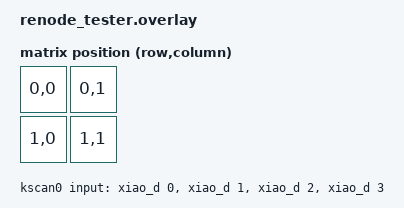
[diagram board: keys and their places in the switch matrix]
/*
 * Minimal Studio-ready XIAO shield used only for the Renode smoke test
 * (see the repo README's `west zmk-renode-test` section). Unlike
 * my_awesome_keyboard, this shield does NOT set a chosen zmk,matrix-transform:
 * CONFIG_ZMK_STUDIO build-asserts on a zmk,physical-layout (with
 * key_physical_attrs) AND the absence of a chosen matrix-transform, so the
 * transform is referenced from the physical layout instead.
 */
#include <dt-bindings/zmk/matrix_transform.h>
#include <physical_layouts.dtsi>

/ {
	chosen {
		zmk,kscan = &kscan0;
	};

	kscan0: kscan {
		compatible = "zmk,kscan-gpio-direct";
		input-gpios
			= <&xiao_d 0 (GPIO_ACTIVE_LOW | GPIO_PULL_UP)>
			, <&xiao_d 1 (GPIO_ACTIVE_LOW | GPIO_PULL_UP)>
			, <&xiao_d 2 (GPIO_ACTIVE_LOW | GPIO_PULL_UP)>
			, <&xiao_d 3 (GPIO_ACTIVE_LOW | GPIO_PULL_UP)>
			;
	};

	transform0: keymap_transform {
		compatible = "zmk,matrix-transform";
		columns = <2>;
		rows = <2>;
		map = <
		RC(0,0)  RC(0,1)
		RC(1,0)  RC(1,1)
		>;
	};

	physical_layout0: physical_layout0 {
		compatible = "zmk,physical-layout";
		display-name = "Renode";
		transform = <&transform0>;
		keys  /* w   h    x    y   rot  rx  ry */
			= <&key_physical_attrs 100 100   0   0 0 0 0>
			, <&key_physical_attrs 100 100 100   0 0 0 0>
			, <&key_physical_attrs 100 100   0 100 0 0 0>
			, <&key_physical_attrs 100 100 100 100 0 0 0>
			;
	};
};
